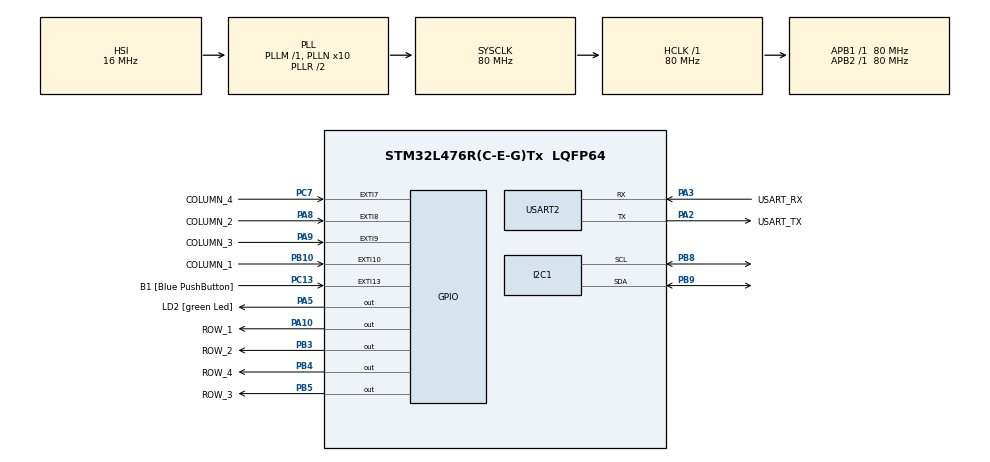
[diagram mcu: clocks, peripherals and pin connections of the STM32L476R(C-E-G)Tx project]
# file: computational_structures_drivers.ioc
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I2C1.Timing=0x10909CEC
Mcu.Family=STM32L4
Mcu.Name=STM32L476R(C-E-G)Tx
Mcu.Package=LQFP64
NVIC.EXTI15_10_IRQn=true\:0\:0\:false\:false\:true\:true\:true\:true
NVIC.EXTI9_5_IRQn=true\:0\:0\:false\:false\:true\:true\:true\:true
NVIC.PriorityGroup=NVIC_PRIORITYGROUP_4
NVIC.USART2_IRQn=true\:0\:0\:false\:false\:true\:true\:true\:true
PA10.GPIO_Label=ROW_1
PA10.Signal=GPIO_Output
PA13\ (JTMS-SWDIO).GPIO_Label=TMS
PA13\ (JTMS-SWDIO).Mode=Serial_Wire
PA13\ (JTMS-SWDIO).Signal=SYS_JTMS-SWDIO
PA14\ (JTCK-SWCLK).GPIO_Label=TCK
PA14\ (JTCK-SWCLK).Mode=Serial_Wire
PA14\ (JTCK-SWCLK).Signal=SYS_JTCK-SWCLK
PA2.GPIO_Label=USART_TX
PA2.GPIO_Mode=GPIO_MODE_AF_PP
PA2.GPIO_PuPd=GPIO_NOPULL
PA2.GPIO_Speed=GPIO_SPEED_FREQ_VERY_HIGH
PA2.Mode=Asynchronous
PA2.Signal=USART2_TX
PA3.GPIO_Label=USART_RX
PA3.GPIO_Mode=GPIO_MODE_AF_PP
PA3.GPIO_PuPd=GPIO_NOPULL
PA3.GPIO_Speed=GPIO_SPEED_FREQ_VERY_HIGH
PA3.Mode=Asynchronous
PA3.Signal=USART2_RX
PA5.GPIO_Label=LD2 [green Led]
PA5.GPIO_ModeDefaultOutputPP=GPIO_MODE_OUTPUT_PP
PA5.GPIO_PuPd=GPIO_NOPULL
PA5.GPIO_Speed=GPIO_SPEED_FREQ_LOW
PA5.Signal=GPIO_Output
PA8.GPIO_Label=COLUMN_2
PA8.GPIO_PuPd=GPIO_PULLDOWN
PA8.Signal=GPXTI8
PA9.GPIO_Label=COLUMN_3
PA9.GPIO_PuPd=GPIO_PULLDOWN
PA9.Signal=GPXTI9
PB10.GPIO_Label=COLUMN_1
PB10.GPIO_PuPd=GPIO_PULLDOWN
PB10.Signal=GPXTI10
PB3\ (JTDO-TRACESWO).GPIO_Label=ROW_2
PB3\ (JTDO-TRACESWO).Signal=GPIO_Output
PB4\ (NJTRST).GPIO_Label=ROW_4
PB4\ (NJTRST).Signal=GPIO_Output
PB5.GPIO_Label=ROW_3
PB5.Signal=GPIO_Output
PB8.Mode=I2C
PB8.Signal=I2C1_SCL
PB9.Mode=I2C
PB9.Signal=I2C1_SDA
PC13.GPIO_Label=B1 [Blue PushButton]
PC13.GPIO_ModeDefaultEXTI=GPIO_MODE_IT_FALLING
PC13.GPIO_PuPd=GPIO_NOPULL
PC13.Signal=GPXTI13
PC14-OSC32_IN\ (PC14).Mode=LSE-External-Oscillator
PC14-OSC32_IN\ (PC14).Signal=RCC_OSC32_IN
PC15-OSC32_OUT\ (PC15).Mode=LSE-External-Oscillator
PC15-OSC32_OUT\ (PC15).Signal=RCC_OSC32_OUT
PC7.GPIO_Label=COLUMN_4
PC7.GPIO_PuPd=GPIO_PULLDOWN
PC7.Signal=GPXTI7
PH0-OSC_IN\ (PH0).Signal=RCC_OSC_IN
PH1-OSC_OUT\ (PH1).Signal=RCC_OSC_OUT
ProjectManager.HeapSize=0x200
ProjectManager.StackSize=0x400
ProjectManager.TargetToolchain=STM32CubeIDE
RCC.ADCFreq_Value=64000000
RCC.AHBFreq_Value=80000000
RCC.APB1Freq_Value=80000000
RCC.APB1TimFreq_Value=80000000
RCC.APB2Freq_Value=80000000
RCC.APB2TimFreq_Value=80000000
RCC.CortexFreq_Value=80000000
RCC.HCLKFreq_Value=80000000
RCC.HSE_VALUE=8000000
RCC.HSI_VALUE=16000000
RCC.MSI_VALUE=4000000
RCC.PLLN=10
RCC.PLLSourceVirtual=RCC_PLLSOURCE_HSI
RCC.PREFETCH_ENABLE=1
RCC.SYSCLKFreq_VALUE=80000000
RCC.SYSCLKSource=RCC_SYSCLKSOURCE_PLLCLK
RCC.USBFreq_Value=64000000
RCC.VCOOutputFreq_Value=160000000
USART2.VirtualMode-Asynchronous=VM_ASYNC
board=NUCLEO-L476RG

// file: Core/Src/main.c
/* USER CODE BEGIN Header */
/**
  ******************************************************************************
  * @file           : main.c
  * @brief          : Main program body
  ******************************************************************************
  * @attention
  *
  * Copyright (c) 2023 STMicroelectronics.
  * All rights reserved.
  *
  * This software is licensed under terms that can be found in the LICENSE file
  * in the root directory of this software component.
  * If no LICENSE file comes with this software, it is provided AS-IS.
  *
  ******************************************************************************
  */
/* USER CODE END Header */
#include "main.h"

/* USER CODE BEGIN Includes */
#include "stdio.h"

/*Include library ring_buffer*/
#include"ring_buffer.h"

/*Include librarys ssd1306*/
#include "ssd1306.h"
#include "ssd1306_fonts.h"

/*Include Library keyboard hexadecimal*/
#include "keyboard.h"
/* USER CODE END Includes */

I2C_HandleTypeDef hi2c1;

UART_HandleTypeDef huart2;

/* USER CODE BEGIN PV */

//Defined the size of the sequence
#define KEY_BUFFER_SIZE 5

//Define the variables for the use of the ring_buffer
uint8_t key_buffer_data[KEY_BUFFER_SIZE];//Define the data reader
ring_buffer_t key_buffer;////Define the buffer where the data will be stored.

// Defined the variables for the use of the keyboard hexadecimal
uint16_t key_event=0xFF;//Define the variable for the column reader to be evaluated
uint8_t key_pressed=0xFF;// Define the variable for reader of the key pressed

/* USER CODE END PV */

void SystemClock_Config(void);
static void MX_GPIO_Init(void);
static void MX_USART2_UART_Init(void);
static void MX_I2C1_Init(void);

/* USER CODE BEGIN 0 */

/**
 * @brief Overrides the standard _write function to redirect output to UART.
 * @param file File descriptor (not used).
 * @param ptr Pointer to the character buffer to be transmitted.
 * @param len Number of bytes to transmit.
 * @return The number of bytes transmitted.
 */
int _write(int file, char *ptr, int len)
{
	HAL_UART_Transmit(&huart2, (uint8_t*)ptr, len, HAL_MAX_DELAY);
	return len;
}
/**
 * @brief Callback function for GPIO EXTI (External Interrupt) events.
 * @param GPIO_Pin The GPIO_Pin that triggered the interrupt.
 */
void HAL_GPIO_EXTI_Callback(uint16_t GPIO_Pin)
{
	key_event = GPIO_Pin;
}

/**
* @brief Callback function for UART receive complete event.
* @param huart Pointer to the UART handle that triggered the receive complete event.
*/
void HAL_UART_RxCpltCallback(UART_HandleTypeDef *huart){

	ring_buffer_put(&key_buffer, key_pressed);

	HAL_UART_Receive_IT(&huart2, &key_pressed,1);
}

/* USER CODE END 0 */

int main(void)
{

  /* MCU Configuration--------------------------------------------------------*/

  /* Reset of all peripherals, Initializes the Flash interface and the Systick. */
  HAL_Init();

  /* Configure the system clock */
  SystemClock_Config();

  /* Initialize all configured peripherals */
  MX_GPIO_Init();
  MX_USART2_UART_Init();
  MX_I2C1_Init();
  /* USER CODE BEGIN 2 */

 /*Initialise the ring_buffer*/
  ring_buffer_init(&key_buffer, key_buffer_data, KEY_BUFFER_SIZE);

/* Initialize configured driver SSD1306*/
/*
 * @brief Initializes the SSD1306 controller.
 **/
 ssd1306_Init();

/* Initialize configured keyboard hexadecimal*/
  keypad_init();

/* USER CODE END 2 */

/* Infinite loop */
/* USER CODE BEGIN WHILE */
  while (1)
  {
	  if (key_event != 0xFF)
	  { // check if there is a event from the EXTi callback
		  uint16_t key_pressed = keypad_handler(key_event); // call the keypad handler

		  /*Optimization value receive*/
		  if (key_pressed!= 0xFF)
		  {
		  printf("\r\nKey pressed: %x\r\n", key_pressed); // print the key pressed
		  ring_buffer_put(&key_buffer, key_pressed);
		  }
		  	  /**Check if the key pressed corresponds to (*)**/
		  		  if(key_pressed==0x0E)
		  		  {
		  			  //If this is met, the buffer is reset, i.e. the sequence
		  		  		ring_buffer_reset(&key_buffer);
		  		  		//Notify with an alert message the action taken.
		  		  		printf("You pressed(*)");
		  		  		printf("\r\nThe sequence has been restarted\r\n");
		            	ssd1306_Fill(Black);
		            	ssd1306_WriteString("Sequence restarted",Font_7x10,White);
		  		  		ssd1306_UpdateScreen();
		  		  }

		  /**Check if the buffer or sequence is full**/
		  	if (ring_buffer_is_full(&key_buffer)==1)
		  	{//If this is fulfilled, we notify with a printed message .
		  		printf("\r\nYou have already pressed 5 keys\r\n");

		  	/*As long as the sequence has not been completed, the following is carried out*/

		  		//Check if the sequence entered complies with the year of birth followed by #.
		  		//(2,0,0,0,4,#)
		  		if (key_buffer_data[0]==0x02 && key_buffer_data[1]==0x00 && key_buffer_data[2]==0x00 &&key_buffer_data[3]==0x04 && key_buffer_data[4]==0x23 )
		  		  {
		  			//If this is fulfilled, a message "pass" is shown on the display
		  			//and the corresponding action is printed.
		  		            	  ssd1306_Fill(Black);
		  		            	  ssd1306_WriteString("Pass",Font_7x10,White);
		  		            	  printf("\r\nCorrect key\r\n");
		  		            	  ssd1306_UpdateScreen();

		  		  }
		  		  	  else{
		  		  		  //If this is not fulfilled, we show a message on the display "Fail".
		  		  		  //and print the corresponding action.
		  		            	  ssd1306_Fill(Black);
		  		            	  ssd1306_WriteString("Fail",Font_7x10,White);
		  		            	  printf("\r\nIncorrect key\r\n");
		  		            	printf("\r\nPress (*) and try again\r\n");
		  		            	ssd1306_UpdateScreen();

		  		  	  	  }
		  }
		  	key_event = 0xFF; // clean the event

	  }
  }
  /* USER CODE END WHILE */
}

void SystemClock_Config(void)
{
  RCC_OscInitTypeDef RCC_OscInitStruct = {0};
  RCC_ClkInitTypeDef RCC_ClkInitStruct = {0};

  /** Configure the main internal regulator output voltage
  */
  if (HAL_PWREx_ControlVoltageScaling(PWR_REGULATOR_VOLTAGE_SCALE1) != HAL_OK)
  {
    Error_Handler();
  }

  /** Initializes the RCC Oscillators according to the specified parameters
  * in the RCC_OscInitTypeDef structure.
  */
  RCC_OscInitStruct.OscillatorType = RCC_OSCILLATORTYPE_HSI;
  RCC_OscInitStruct.HSIState = RCC_HSI_ON;
  RCC_OscInitStruct.HSICalibrationValue = RCC_HSICALIBRATION_DEFAULT;
  RCC_OscInitStruct.PLL.PLLState = RCC_PLL_ON;
  RCC_OscInitStruct.PLL.PLLSource = RCC_PLLSOURCE_HSI;
  RCC_OscInitStruct.PLL.PLLM = 1;
  RCC_OscInitStruct.PLL.PLLN = 10;
  RCC_OscInitStruct.PLL.PLLP = RCC_PLLP_DIV7;
  RCC_OscInitStruct.PLL.PLLQ = RCC_PLLQ_DIV2;
  RCC_OscInitStruct.PLL.PLLR = RCC_PLLR_DIV2;
  if (HAL_RCC_OscConfig(&RCC_OscInitStruct) != HAL_OK)
  {
    Error_Handler();
  }

  /** Initializes the CPU, AHB and APB buses clocks
  */
  RCC_ClkInitStruct.ClockType = RCC_CLOCKTYPE_HCLK|RCC_CLOCKTYPE_SYSCLK
                              |RCC_CLOCKTYPE_PCLK1|RCC_CLOCKTYPE_PCLK2;
  RCC_ClkInitStruct.SYSCLKSource = RCC_SYSCLKSOURCE_PLLCLK;
  RCC_ClkInitStruct.AHBCLKDivider = RCC_SYSCLK_DIV1;
  RCC_ClkInitStruct.APB1CLKDivider = RCC_HCLK_DIV1;
  RCC_ClkInitStruct.APB2CLKDivider = RCC_HCLK_DIV1;

  if (HAL_RCC_ClockConfig(&RCC_ClkInitStruct, FLASH_LATENCY_4) != HAL_OK)
  {
    Error_Handler();
  }
}

static void MX_I2C1_Init(void)
{

  hi2c1.Instance = I2C1;
  hi2c1.Init.Timing = 0x10909CEC;
  hi2c1.Init.OwnAddress1 = 0;
  hi2c1.Init.AddressingMode = I2C_ADDRESSINGMODE_7BIT;
  hi2c1.Init.DualAddressMode = I2C_DUALADDRESS_DISABLE;
  hi2c1.Init.OwnAddress2 = 0;
  hi2c1.Init.OwnAddress2Masks = I2C_OA2_NOMASK;
  hi2c1.Init.GeneralCallMode = I2C_GENERALCALL_DISABLE;
  hi2c1.Init.NoStretchMode = I2C_NOSTRETCH_DISABLE;
  if (HAL_I2C_Init(&hi2c1) != HAL_OK)
  {
    Error_Handler();
  }

  /** Configure Analogue filter
  */
  if (HAL_I2CEx_ConfigAnalogFilter(&hi2c1, I2C_ANALOGFILTER_ENABLE) != HAL_OK)
  {
    Error_Handler();
  }

  /** Configure Digital filter
  */
  if (HAL_I2CEx_ConfigDigitalFilter(&hi2c1, 0) != HAL_OK)
  {
    Error_Handler();
  }

}

static void MX_USART2_UART_Init(void)
{

  huart2.Instance = USART2;
  huart2.Init.BaudRate = 115200;
  huart2.Init.WordLength = UART_WORDLENGTH_8B;
  huart2.Init.StopBits = UART_STOPBITS_1;
  huart2.Init.Parity = UART_PARITY_NONE;
  huart2.Init.Mode = UART_MODE_TX_RX;
  huart2.Init.HwFlowCtl = UART_HWCONTROL_NONE;
  huart2.Init.OverSampling = UART_OVERSAMPLING_16;
  huart2.Init.OneBitSampling = UART_ONE_BIT_SAMPLE_DISABLE;
  huart2.AdvancedInit.AdvFeatureInit = UART_ADVFEATURE_NO_INIT;
  if (HAL_UART_Init(&huart2) != HAL_OK)
  {
    Error_Handler();
  }

}

static void MX_GPIO_Init(void)
{
  GPIO_InitTypeDef GPIO_InitStruct = {0};

  /* GPIO Ports Clock Enable */
  __HAL_RCC_GPIOC_CLK_ENABLE();
  __HAL_RCC_GPIOH_CLK_ENABLE();
  __HAL_RCC_GPIOA_CLK_ENABLE();
  __HAL_RCC_GPIOB_CLK_ENABLE();

  /*Configure GPIO pin Output Level */
  HAL_GPIO_WritePin(GPIOA, LD2_Pin|ROW_1_Pin, GPIO_PIN_RESET);

  /*Configure GPIO pin Output Level */
  HAL_GPIO_WritePin(GPIOB, ROW_2_Pin|ROW_4_Pin|ROW_3_Pin, GPIO_PIN_RESET);

  /*Configure GPIO pin : B1_Pin */
  GPIO_InitStruct.Pin = B1_Pin;
  GPIO_InitStruct.Mode = GPIO_MODE_IT_FALLING;
  GPIO_InitStruct.Pull = GPIO_NOPULL;
  HAL_GPIO_Init(B1_GPIO_Port, &GPIO_InitStruct);

  /*Configure GPIO pins : LD2_Pin ROW_1_Pin */
  GPIO_InitStruct.Pin = LD2_Pin|ROW_1_Pin;
  GPIO_InitStruct.Mode = GPIO_MODE_OUTPUT_PP;
  GPIO_InitStruct.Pull = GPIO_NOPULL;
  GPIO_InitStruct.Speed = GPIO_SPEED_FREQ_LOW;
  HAL_GPIO_Init(GPIOA, &GPIO_InitStruct);

  /*Configure GPIO pin : COLUMN_1_Pin */
  GPIO_InitStruct.Pin = COLUMN_1_Pin;
  GPIO_InitStruct.Mode = GPIO_MODE_IT_RISING;
  GPIO_InitStruct.Pull = GPIO_PULLDOWN;
  HAL_GPIO_Init(COLUMN_1_GPIO_Port, &GPIO_InitStruct);

  /*Configure GPIO pin : COLUMN_4_Pin */
  GPIO_InitStruct.Pin = COLUMN_4_Pin;
  GPIO_InitStruct.Mode = GPIO_MODE_IT_RISING;
  GPIO_InitStruct.Pull = GPIO_PULLDOWN;
  HAL_GPIO_Init(COLUMN_4_GPIO_Port, &GPIO_InitStruct);

  /*Configure GPIO pins : COLUMN_2_Pin COLUMN_3_Pin */
  GPIO_InitStruct.Pin = COLUMN_2_Pin|COLUMN_3_Pin;
  GPIO_InitStruct.Mode = GPIO_MODE_IT_RISING;
  GPIO_InitStruct.Pull = GPIO_PULLDOWN;
  HAL_GPIO_Init(GPIOA, &GPIO_InitStruct);

  /*Configure GPIO pins : ROW_2_Pin ROW_4_Pin ROW_3_Pin */
  GPIO_InitStruct.Pin = ROW_2_Pin|ROW_4_Pin|ROW_3_Pin;
  GPIO_InitStruct.Mode = GPIO_MODE_OUTPUT_PP;
  GPIO_InitStruct.Pull = GPIO_NOPULL;
  GPIO_InitStruct.Speed = GPIO_SPEED_FREQ_LOW;
  HAL_GPIO_Init(GPIOB, &GPIO_InitStruct);

  /* EXTI interrupt init*/
  HAL_NVIC_SetPriority(EXTI9_5_IRQn, 0, 0);
  HAL_NVIC_EnableIRQ(EXTI9_5_IRQn);

  HAL_NVIC_SetPriority(EXTI15_10_IRQn, 0, 0);
  HAL_NVIC_EnableIRQ(EXTI15_10_IRQn);

}

void Error_Handler(void)
{
  __disable_irq();
  while (1)
  {
  }
}
